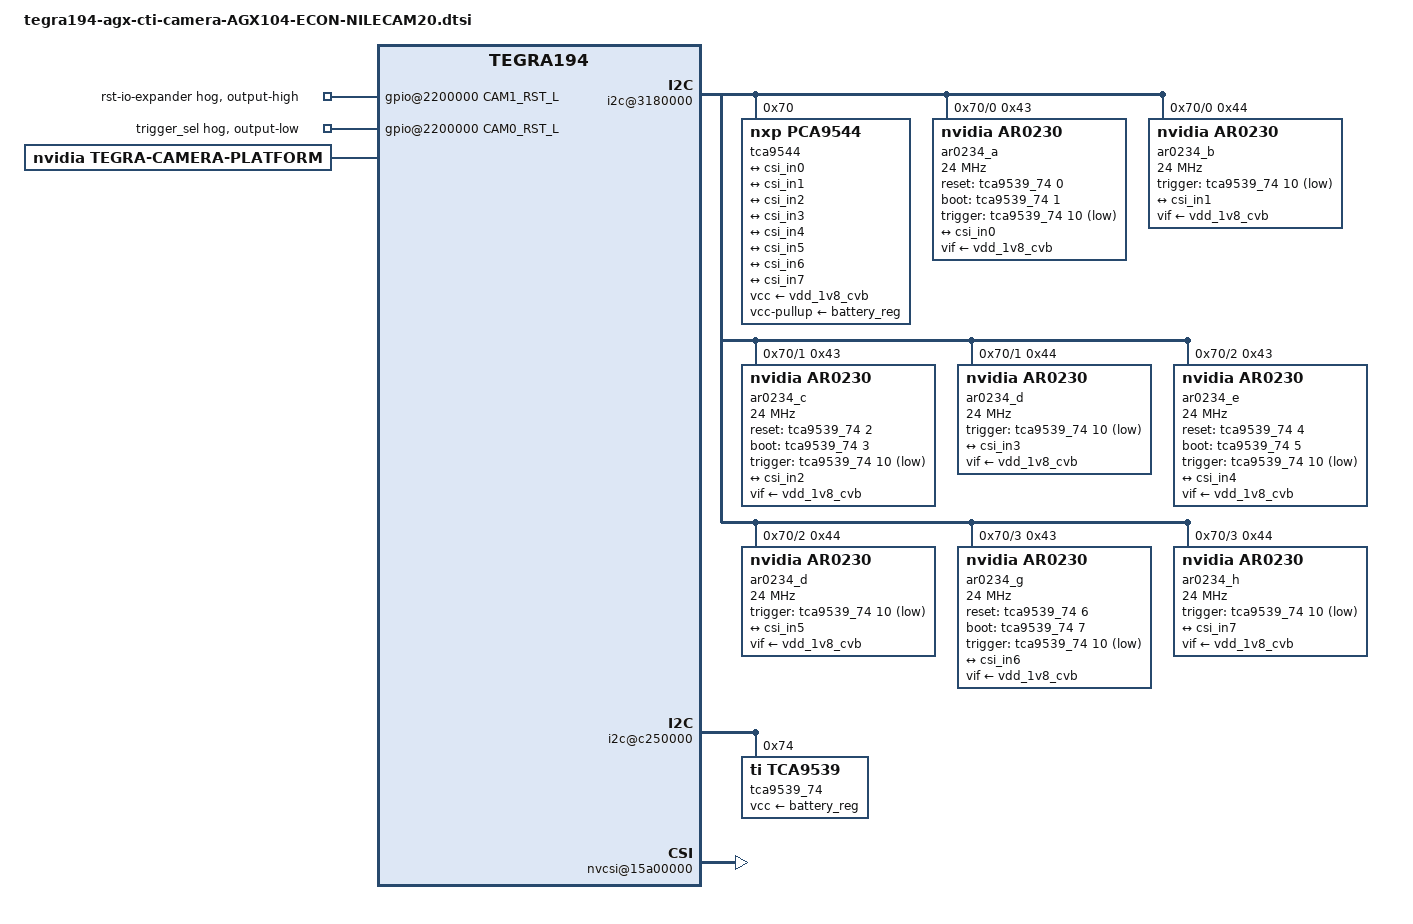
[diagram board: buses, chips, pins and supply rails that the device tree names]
/*
 * Copyright (c) 2018, NVIDIA CORPORATION.  All rights reserved.
 *
 * This program is free software; you can redistribute it and/or modify
 * it under the terms of the GNU General Public License as published by
 * the Free Software Foundation; either version 2 of the License, or
 * (at your option) any later version.
 *
 * This program is distributed in the hope that it will be useful, but WITHOUT
 * ANY WARRANTY; without even the implied warranty of MERCHANTABILITY or
 * FITNESS FOR A PARTICULAR PURPOSE.  See the GNU General Public License for
 * more details.
 *
 * You should have received a copy of the GNU General Public License
 * along with this program.  If not, see <http://www.gnu.org/licenses/>.
 */

#include "dt-bindings/clock/tegra194-clock.h"

#define CAM0_RST_L	TEGRA194_MAIN_GPIO(H, 3)
#define CAM1_RST_L	TEGRA194_MAIN_GPIO(T, 6)


#define CAMERA_I2C_MUX_BUS(x) (0x1E + x)
#define CAM_LANES 4
#define CAM_LANES_STRING "4" 
#define TEGRA_SINTERFACE "serial_g"
#define MODE_VC "0"
#define SERDES_PIX_CLK_HZ "480000000" 
					

/ {
	gpio@2200000 {
		camera-control-output-high {
			status = "okay";
			gpio-hog;
			gpios = <CAM1_RST_L 0>;
			output-high;
			label = "rst-io-expander"; 
		};
		camera-control-output-low {
			status = "okay";
			gpio-hog;
			gpios = <CAM0_RST_L 0>;
			output-low;
			label = "trigger_sel";
		};
	};

	i2c@3180000 {
		status = "okay";
		#address-cells = <1>;
		#size-cells = <0>;
	
		tca9544@70 {
		status = "okay";
		compatible = "nxp,pca9544";
		reg = <0x70>;
		#address-cells = <1>;
		#size-cells = <0>;
		vcc-supply = <&vdd_1v8_cvb>;
		vcc-pullup-supply = <&battery_reg>;
		vcc_lp = "vcc";
		skip_mux_detect = "yes";
		force_bus_start = <40>;
		i2c@0 {
			status = "okay";
			reg = <0>;
			i2c-mux,deselect-on-exit;
			#address-cells = <1>;
			#size-cells = <0>;
			ar0234_a@43 {
				status = "okay";
				compatible = "nvidia,ar0230";
				reg = <0x43>;
				sensor_mode = "ar0230";
				avdd-reg = "vana";
				iovdd-reg = "vif";
				clocks = <&bpmp_clks TEGRA194_CLK_EXTPERIPH1>,<&bpmp_clks TEGRA194_CLK_EXTPERIPH1>;
				clock-names = "extperiph1","pllp_grtba";
				mclk = "extperiph1";
				clock-frequency = <24000000>;
				default-trigger = "internal";
				vif-supply = <&vdd_1v8_cvb>;
				use_sensor_mode_id = "false";
				camera_mipi_lanes = <CAM_LANES>;
				camera-mipi-clk = <1200>;
				sio-port = "A";
				reset-gpios = <&tca9539_74 0 0>;
				boot-gpios = <&tca9539_74 1 0>;
				trigger-gpios = <&tca9539_74 10 GPIO_ACTIVE_LOW>;
#undef LOCAL_VC_ID
#define LOCAL_VC_ID "1"
#undef TEGRA_SINTERFACE
#define TEGRA_SINTERFACE "serial_a"
#include "nilecam20_cuxvr_mode.dtsi"
				ports {
					#address-cells = <1>;
					#size-cells = <0>;
					port@0 {
						reg = <0>;
						cam_out0: endpoint {
							status = "okay";
							vc-id = <1>;
							port-index = <0>;
							bus-width = <CAM_LANES>;
							remote-endpoint = <&csi_in0>;
						};
					};
				};
			};
			ar0234_b@44 {
				status = "okay";
				compatible = "nvidia,ar0230";
				reg = <0x44>;
				sensor_mode = "ar0230";
				avdd-reg = "vana";
				iovdd-reg = "vif";
				clocks = <&bpmp_clks TEGRA194_CLK_EXTPERIPH1>,<&bpmp_clks TEGRA194_CLK_EXTPERIPH1>;
				clock-names = "extperiph1","pllp_grtba";
				mclk = "extperiph1";
				clock-frequency = <24000000>;
				default-trigger = "internal";
				vif-supply = <&vdd_1v8_cvb>;
				use_sensor_mode_id = "false";
				camera_mipi_lanes = <CAM_LANES>;
				camera-mipi-clk = <1200>;
				sio-port = "B";
				trigger-gpios = <&tca9539_74 10 GPIO_ACTIVE_LOW>;
#undef LOCAL_VC_ID
#define LOCAL_VC_ID "0"
#include "nilecam20_cuxvr_mode.dtsi"
				ports {
					#address-cells = <1>;
					#size-cells = <0>;
					port@0 {
						reg = <0>;
						cam_out1: endpoint {
							status = "okay";
							vc-id = <0>;
							port-index = <0>;
							bus-width = <CAM_LANES>;
							remote-endpoint = <&csi_in1>;
						};
					};
				};
			};
		};

		i2c@1 {
			status = "okay";
			reg = <1>;
			i2c-mux,deselect-on-exit;
			#address-cells = <1>;
			#size-cells = <0>;
			ar0234_c@43 {
				status = "okay";
				compatible = "nvidia,ar0230";
				reg = <0x43>;
				sensor_mode = "ar0230";
				avdd-reg = "vana";
				iovdd-reg = "vif";
				clocks = <&bpmp_clks TEGRA194_CLK_EXTPERIPH1>,<&bpmp_clks TEGRA194_CLK_EXTPERIPH1>;
				clock-names = "extperiph1","pllp_grtba";
				mclk = "extperiph1";
				clock-frequency = <24000000>;
				default-trigger = "internal";
				vif-supply = <&vdd_1v8_cvb>;
				use_sensor_mode_id = "false";
				camera_mipi_lanes = <CAM_LANES>;
				camera-mipi-clk = <1200>;
				sio-port = "A";
				reset-gpios = <&tca9539_74 2 0>;
				boot-gpios = <&tca9539_74 3 0>;
				trigger-gpios = <&tca9539_74 10 GPIO_ACTIVE_LOW>;
#undef LOCAL_VC_ID
#define LOCAL_VC_ID "1"
#undef TEGRA_SINTERFACE
#define TEGRA_SINTERFACE "serial_c"
#include "nilecam20_cuxvr_mode.dtsi"
				ports {
					#address-cells = <1>;
					#size-cells = <0>;
					port@0 {
						reg = <0>;
						cam_out2: endpoint {
							status = "okay";
							vc-id = <1>;
							port-index = <2>;
							bus-width = <CAM_LANES>;
							remote-endpoint = <&csi_in2>;
						};
					};
				};
			};
			ar0234_d@44 {
				status = "okay";
				compatible = "nvidia,ar0230";
				reg = <0x44>;
				sensor_mode = "ar0230";
				avdd-reg = "vana";
				iovdd-reg = "vif";
				clocks = <&bpmp_clks TEGRA194_CLK_EXTPERIPH1>,<&bpmp_clks TEGRA194_CLK_EXTPERIPH1>;
				clock-names = "extperiph1","pllp_grtba";
				mclk = "extperiph1";
				clock-frequency = <24000000>;
				default-trigger = "internal";
				vif-supply = <&vdd_1v8_cvb>;
				use_sensor_mode_id = "false";
				camera_mipi_lanes = <CAM_LANES>;
				camera-mipi-clk = <1200>;
				sio-port = "B";
				trigger-gpios = <&tca9539_74 10 GPIO_ACTIVE_LOW>;
#undef LOCAL_VC_ID
#define LOCAL_VC_ID "0"
#include "nilecam20_cuxvr_mode.dtsi"
				ports {
					#address-cells = <1>;
					#size-cells = <0>;
					port@0 {
						reg = <0>;
						cam_out3: endpoint {
							status = "okay";
							vc-id = <0>;
							port-index = <2>;
							bus-width = <CAM_LANES>;
							remote-endpoint = <&csi_in3>;
						};
					};
				};
			};
		};


		i2c@2 {
			status = "okay";
			reg = <2>;
			i2c-mux,deselect-on-exit;
			#address-cells = <1>;
			#size-cells = <0>;
			ar0234_e@43 {
				status = "okay";
				compatible = "nvidia,ar0230";
				reg = <0x43>;
				sensor_mode = "ar0230";
				avdd-reg = "vana";
				iovdd-reg = "vif";
				clocks = <&bpmp_clks TEGRA194_CLK_EXTPERIPH1>,<&bpmp_clks TEGRA194_CLK_EXTPERIPH1>;
				clock-names = "extperiph1","pllp_grtba";
				mclk = "extperiph1";
				clock-frequency = <24000000>;
				default-trigger = "internal";
				vif-supply = <&vdd_1v8_cvb>;
				use_sensor_mode_id = "false";
				camera_mipi_lanes = <CAM_LANES>;
				camera-mipi-clk = <1200>;
				sio-port = "A";
				reset-gpios = <&tca9539_74 4 0>;
				boot-gpios = <&tca9539_74 5 0>;
				trigger-gpios = <&tca9539_74 10 GPIO_ACTIVE_LOW>;
#undef LOCAL_VC_ID
#define LOCAL_VC_ID "1"
#undef TEGRA_SINTERFACE
#define TEGRA_SINTERFACE "serial_e"
#include "nilecam20_cuxvr_mode.dtsi"
				ports {
					#address-cells = <1>;
					#size-cells = <0>;
					port@0 {
						reg = <0>;
						cam_out4: endpoint {
							status = "okay";
							vc-id = <1>;
							port-index = <4>;
							bus-width = <CAM_LANES>;
							remote-endpoint = <&csi_in4>;
						};
					};
				};
			};
			ar0234_d@44 {
				status = "okay";
				compatible = "nvidia,ar0230";
				reg = <0x44>;
				sensor_mode = "ar0230";
				avdd-reg = "vana";
				iovdd-reg = "vif";
				clocks = <&bpmp_clks TEGRA194_CLK_EXTPERIPH1>,<&bpmp_clks TEGRA194_CLK_EXTPERIPH1>;
				clock-names = "extperiph1","pllp_grtba";
				mclk = "extperiph1";
				clock-frequency = <24000000>;
				default-trigger = "internal";
				vif-supply = <&vdd_1v8_cvb>;
				use_sensor_mode_id = "false";
				camera_mipi_lanes = <CAM_LANES>;
				camera-mipi-clk = <1200>;
				sio-port = "B";
				trigger-gpios = <&tca9539_74 10 GPIO_ACTIVE_LOW>;
#undef LOCAL_VC_ID
#define LOCAL_VC_ID "0"
#include "nilecam20_cuxvr_mode.dtsi"
				ports {
					#address-cells = <1>;
					#size-cells = <0>;
					port@0 {
						reg = <0>;
						cam_out5: endpoint {
							status = "okay";
							vc-id = <0>;
							port-index = <4>;
							bus-width = <CAM_LANES>;
							remote-endpoint = <&csi_in5>;
						};
					};
				};
			};
		};
	
		i2c@3 {
			status = "okay";
			reg = <3>;
			i2c-mux,deselect-on-exit;
			#address-cells = <1>;
			#size-cells = <0>;
			ar0234_g@43 {
				status = "okay";
				compatible = "nvidia,ar0230";
				reg = <0x43>;
				sensor_mode = "ar0230";
				avdd-reg = "vana";
				iovdd-reg = "vif";
				clocks = <&bpmp_clks TEGRA194_CLK_EXTPERIPH1>,<&bpmp_clks TEGRA194_CLK_EXTPERIPH1>;
				clock-names = "extperiph1","pllp_grtba";
				mclk = "extperiph1";
				clock-frequency = <24000000>;
				default-trigger = "internal";
				vif-supply = <&vdd_1v8_cvb>;
				use_sensor_mode_id = "false";
				camera_mipi_lanes = <CAM_LANES>;
				camera-mipi-clk = <1200>;
				sio-port = "A";
				reset-gpios = <&tca9539_74 6 0>;
				boot-gpios = <&tca9539_74 7 0>;
				trigger-gpios = <&tca9539_74 10 GPIO_ACTIVE_LOW>;
#undef LOCAL_VC_ID
#define LOCAL_VC_ID "1"
#undef TEGRA_SINTERFACE
#define TEGRA_SINTERFACE "serial_g"
#include "nilecam20_cuxvr_mode.dtsi"
				ports {
					#address-cells = <1>;
					#size-cells = <0>;
					port@0 {
						reg = <0>;
						cam_out6: endpoint {
							status = "okay";
							vc-id = <1>;
							port-index = <4>;
							bus-width = <CAM_LANES>;
							remote-endpoint = <&csi_in6>;
						};
					};
				};
			};
			ar0234_h@44 {
				status = "okay";
				compatible = "nvidia,ar0230";
				reg = <0x44>;
				sensor_mode = "ar0230";
				avdd-reg = "vana";
				iovdd-reg = "vif";
				clocks = <&bpmp_clks TEGRA194_CLK_EXTPERIPH1>,<&bpmp_clks TEGRA194_CLK_EXTPERIPH1>;
				clock-names = "extperiph1","pllp_grtba";
				mclk = "extperiph1";
				clock-frequency = <24000000>;
				default-trigger = "internal";
				vif-supply = <&vdd_1v8_cvb>;
				use_sensor_mode_id = "false";
				camera_mipi_lanes = <CAM_LANES>;
				camera-mipi-clk = <1200>;
				sio-port = "B";
				trigger-gpios = <&tca9539_74 10 GPIO_ACTIVE_LOW>;
#undef LOCAL_VC_ID
#define LOCAL_VC_ID "0"
#include "nilecam20_cuxvr_mode.dtsi"
				ports {
					#address-cells = <1>;
					#size-cells = <0>;
					port@0 {
						reg = <0>;
						cam_out7: endpoint {
							status = "okay";
							vc-id = <0>;
							port-index = <4>;
							bus-width = <CAM_LANES>;
							remote-endpoint = <&csi_in7>;
						};
					};
				};
			};
		};
	};
    };

    i2c@c250000 {
		status = "okay";
		#address-cells = <1>;
		#size-cells = <0>;
		tca9539_74: tca9539@74 {
			compatible = "ti,tca9539";
			gpio-controller;
			#gpio-cells = <2>;
			ngpios = <16>;
			reg = <0x74>;
			vcc-supply = <&battery_reg>;
			status = "okay";
			
			tca9539_74_outlow {
				status = "okay";
				gpio-hog;
				gpios = <0 0 1 0 2 0 3 0 4 0 5 0 6 0 7 0 8 0 9 0 10 0 11 0 12 0 13 0>;
				output-low;
				label = "RST_A","PWDN_A","RST_B","PWDN_B","RST_C","PWDN_C","RST_D","PWDN_D";
			};
			tca9539_74_outhigh {
				status = "disabled";
			};
			tca9539_74_input {
				status = "disabled";
			};
		};
	};
    tegra-capture-vi {
	status = "okay";
	num-channels = <8>;
	ports {
	    #address-cells = <1>;
	    #size-cells = <0>;
	    status = "okay";
	    port@0 {
			reg = <0>;
		status = "okay";
		vi_in0: endpoint {
			vc-id = <1>;
		    port-index = <0>;
		    status = "okay";
		    bus-width = <CAM_LANES>;
				remote-endpoint = <&csi_out0>;
		};
	    };
	    port@1 {
		status = "okay";
				reg = <1>;
		vi_in1: endpoint {
			vc-id = <0>;
		    port-index = <0>;
		    status = "okay";
		    bus-width = <CAM_LANES>;
				remote-endpoint = <&csi_out1>;
		};
	    };
		port@2 {
				status = "okay";
				reg = <2>;
				vi_in2: endpoint {
					vc-id = <1>;
					port-index = <2>;
					bus-width = <CAM_LANES>;
					remote-endpoint = <&csi_out2>;
					status = "okay";
				};
		};
		port@3{
				status = "okay";
				reg = <3>;
				vi_in3: endpoint {
					vc-id = <0>;
					port-index = <2>;
					bus-width = <CAM_LANES>;
					remote-endpoint = <&csi_out3>;
					status = "okay";
				};
		};
		port@4 {
				status = "okay";
				reg = <4>;
				vi_in4: endpoint {
					vc-id = <1>;
					port-index = <4>;
					bus-width = <CAM_LANES>;
					remote-endpoint = <&csi_out4>;
					status = "okay";
				};
		};
		port@5 {
				status = "okay";
				reg = <5>;
				vi_in5: endpoint {
					vc-id = <0>;
					port-index = <4>;
					bus-width = <CAM_LANES>;
					remote-endpoint = <&csi_out5>;
					status = "okay";
				};
		};
	    port@6 {
		status = "okay";
				reg = <6>;
		vi_in6: endpoint {
		    port-index = <5>;
		    status = "okay";
		    bus-width = <CAM_LANES>;
				vc-id = <1>;
				remote-endpoint = <&csi_out6>;
		};
	    };
	    port@7 {
		status = "okay";
				reg = <7>;
		vi_in7: endpoint {
		    port-index = <5>;
		    status = "okay";
		    bus-width = <CAM_LANES>;
				vc-id = <0>;
				remote-endpoint = <&csi_out7>;
		};
	    };
	};
    };

    host1x@13e00000 {
	nvcsi@15a00000 {
		num-channels = <8>;
		#address-cells = <1>;
		#size-cells = <0>;
	    status = "okay";
	    channel@0 {
		status = "okay";
				reg = <0>;
		ports {
				#address-cells = <1>;
				#size-cells = <0>;
		    port@0 {
			status = "okay";
						reg = <0>;
			csi_in0: endpoint@0 {
			    status = "okay";
			    port-index = <0>;
						vc-id = <0>;
						bus-width = <CAM_LANES>;
			    remote-endpoint = <&cam_out0>;
			};
			};
		    port@1 {
			status = "okay";
						reg = <1>;
			csi_out0: endpoint@1 {
			    status = "okay";
						port-index = <0>;
						vc-id = <0>;
						bus-width = <CAM_LANES>;
						remote-endpoint = <&vi_in0>;
			};
		    };
		};
	    };
	    channel@1 {
		status = "okay";
				reg = <1>;
		ports {
				#address-cells = <1>;
				#size-cells = <0>;
		    
				port@0 {
						reg = <0>;
			status = "okay";
			csi_in1: endpoint@2 {
			    status = "okay";
						port-index = <0>;
						vc-id = <1>;
			    bus-width = <CAM_LANES>;
			    remote-endpoint = <&cam_out1>;
			};
		    };
		    port@1 {
			status = "okay";
						reg = <1>;
			csi_out1: endpoint@3 {
			    status = "okay";
						port-index = <0>;
						vc-id = <1>;
						bus-width = <CAM_LANES>;
						remote-endpoint = <&vi_in1>;
			};
		    };
		};
	    };
		channel@2 {
		status = "okay";
				reg = <2>;
		ports {
				#address-cells = <1>;
					#size-cells = <0>;
		    port@0 {
			status = "okay";
						reg = <0>;
			csi_in2: endpoint@4 {
			    status = "okay";
			    port-index = <2>;
						bus-width = <CAM_LANES>;
			    remote-endpoint = <&cam_out2>;
			};
		    };
		    port@1 {
			status = "okay";
						reg = <1>;
			csi_out2: endpoint@5 {
			    status = "okay";
						port-index = <2>;
						bus-width = <CAM_LANES>;
						remote-endpoint = <&vi_in2>;
			};
		    };
		};
	    };
	    channel@3 {
		status = "okay";
				reg = <3>;
		ports {
				#address-cells = <1>;
				#size-cells = <0>;
		    
				port@0 {
						reg = <0>;
			status = "okay";
			csi_in3: endpoint@6 {
			    status = "okay";
						port-index = <2>;
			    bus-width = <CAM_LANES>;
			    remote-endpoint = <&cam_out3>;
			};
		    };
		    port@1 {
			status = "okay";
						reg = <1>;
			csi_out3: endpoint@7 {
			    status = "okay";
						port-index = <2>;
						bus-width = <CAM_LANES>;
						remote-endpoint = <&vi_in3>;
			};
		    };
		};
	    };
		channel@4 {
		status = "okay";
				reg = <4>;
		ports {
				#address-cells = <1>;
				#size-cells = <0>;
		    port@0 {
			status = "okay";
						reg = <0>;
			csi_in4: endpoint@8 {
			    status = "okay";
			    port-index = <4>;
						bus-width = <CAM_LANES>;
			    remote-endpoint = <&cam_out4>;
			};
		    };
		    port@1 {
			status = "okay";
						reg = <1>;
			csi_out4: endpoint@9 {
			    status = "okay";
						port-index = <4>;
						bus-width = <CAM_LANES>;
						remote-endpoint = <&vi_in4>;
			};
		    };
		};
	    };
	    channel@5 {
		status = "okay";
				reg = <5>;
		ports {
				#address-cells = <1>;
				#size-cells = <0>;
		    
				port@0 {
						reg = <0>;
			status = "okay";
			csi_in5: endpoint@10 {
			    status = "okay";
						port-index = <4>;
			    bus-width = <CAM_LANES>;
			    remote-endpoint = <&cam_out5>;
			};
		    };
		    port@1 {
			status = "okay";
						reg = <1>;
			csi_out5: endpoint@11 {
			    status = "okay";
						port-index = <4>;
						bus-width = <CAM_LANES>;
						remote-endpoint = <&vi_in5>;
			};
		    };
		};
	    };

	    channel@6 {
		status = "okay";
				reg = <6>;
		ports {
				#address-cells = <1>;
				#size-cells = <0>;
		    port@0 {
						reg = <0>;
			status = "okay";
			csi_in6: endpoint@12 {
			    status = "okay";
			    bus-width = <CAM_LANES>;
						port-index = <6>;
						remote-endpoint = <&cam_out6>;
			};
		    };
		    port@1 {
			status = "okay";
			reg = <1>;
							csi_out6: endpoint@13 {
			    status = "okay";
						remote-endpoint = <&vi_in6>;
			};
		    };
		};
	    };

	    channel@7 {
		status = "okay";
				reg = <7>;
		ports {
		    #address-cells = <1>;
		    #size-cells = <0>;
		    port@0 {
						reg = <0>;
			status = "okay";
			csi_in7: endpoint@14 {
			    status = "okay";
			    bus-width = <CAM_LANES>;
						port-index = <6>;
						remote-endpoint = <&cam_out7>;
			};
		    };
		    port@1 {
			status = "okay";
						reg = <1>;
			csi_out7: endpoint@15 {
			    status = "okay";
						remote-endpoint = <&vi_in7>;
			};
		    };
		};
	    };
	};
    };
};

/ {
    tegra-camera-platform {
		compatible = "nvidia, tegra-camera-platform";
		num_csi_lanes = <16>;
		max_lane_speed = <1500000>;
		min_bits_per_pixel = <8>;
		vi_peak_byte_per_pixel = <2>;
		vi_bw_margin_pct = <25>;
		max_pixel_rate = <160000>;
		isp_peak_byte_per_pixel = <5>;
		isp_bw_margin_pct = <25>;
	
		modules {
			status = "okay";
			module0 {
				status = "okay";
				badge = "ar0230_a";
				position = "bottomleft";
				orientation = "1";
				drivernode0 {
					status = "okay";
					pcl_id = "v4l2_sensor";
					devname = "ar0230 40-0043";
					proc-device-tree = "/proc/device-tree/i2c@3180000/tca9544@70/i2c@0/ar0230_a@43";
				};

			};
			module1 {
				status = "okay";
				badge = "ar0230_b";
				position = "bottomright";
				orientation = "1";
				drivernode0 {
					status = "okay";
					pcl_id = "v4l2_sensor";
					devname = "ar0230 40-0044";
					proc-device-tree = "/proc/device-tree/i2c@3180000/tca9544@70/i2c@0/ar0230_b@44";
				};
			};
			module2 {
				status = "okay";
				badge = "ar0230_c";
				position = "topleft";
				orientation = "1";
				drivernode0 {
					status = "okay";
					pcl_id = "v4l2_sensor";
					devname = "ar0230 40-0043";
					proc-device-tree = "/proc/device-tree/i2c@3180000/tca9544@70/i2c@1/ar0230_c";
				};
			};
			module3 {
				status = "okay";
				badge = "ar0230_d";
				position = "topright";
				orientation = "1";
				drivernode0 {
					status = "okay";
					pcl_id = "v4l2_sensor";
					devname = "ar0230 41-0044";
					proc-device-tree = "/proc/device-tree/i2c@3180000/tca9544@70/i2c@1/ar0230_d";
				};
			};
			module4 {
				status = "okay";
				badge = "ar0230_e";
				position = "centerleft";
				orientation = "1";
				drivernode0 {
					status = "okay";
					pcl_id = "v4l2_sensor";
					devname = "ar0230 42-0043";
					proc-device-tree = "/proc/device-tree/i2c@3180000/tca9544@70/i2c@2/ar0230_e@43";
				};
			};
			module5 {
				status = "okay";
				badge = "ar0230_f";
				position = "centerright";
				orientation = "1";
				drivernode0 {
					status = "okay";
					pcl_id = "v4l2_sensor";
					devname = "ar0230 42-0044";
					proc-device-tree = "/proc/device-tree/i2c@3180000/tca9544@70/i2c@2/ar0230_f@44";
				};
			};
			module6 {
				status = "okay";
				badge = "ar0230_g";
				position = "front";
				orientation = "1";
				drivernode0 {
					status = "okay";
					pcl_id = "v4l2_sensor";
					devname = "ar0230 43-0043";
					proc-device-tree = "/proc/device-tree/i2c@3180000/tca9544@70/i2c@3/ar0230_g@43";
				};
			};
			module7 {
				status = "okay";
				badge = "ar0230_h";
				position = "back";
				orientation = "1";
				drivernode0 {
					status = "okay";
					pcl_id = "v4l2_sensor";
					devname = "ar0230 43-0044";
					proc-device-tree = "/proc/device-tree/i2c@3180000/tca9544@70/i2c@3/ar0230_h@44";
				};
			};
	};
    };
};
